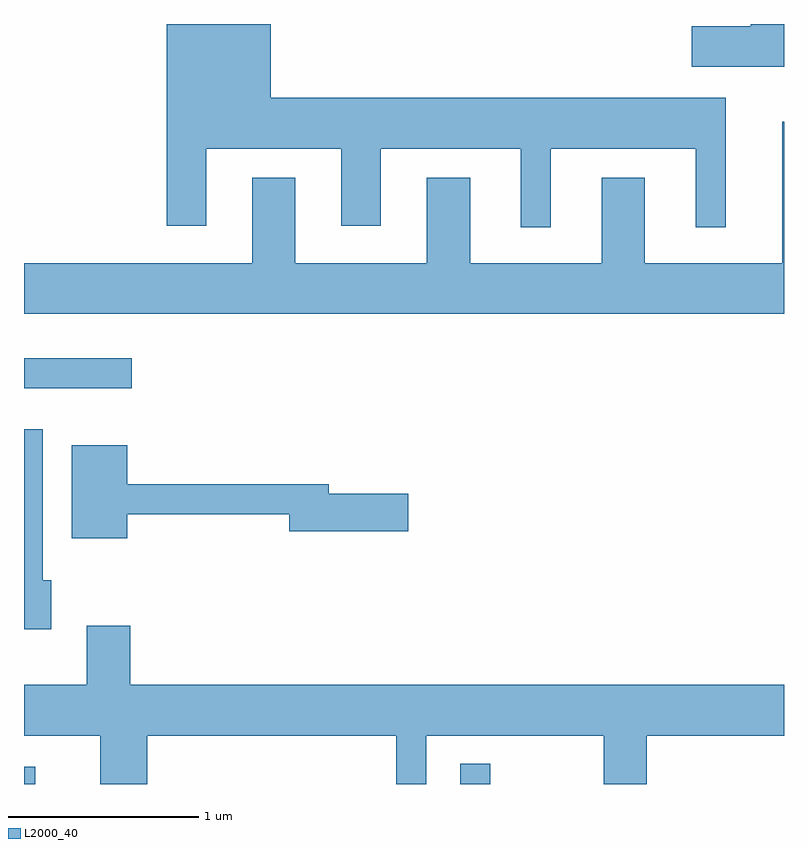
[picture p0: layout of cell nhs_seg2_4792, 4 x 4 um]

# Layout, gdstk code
import gdstk
lib = gdstk.Library(unit=1e-6, precision=1e-09)
def R(c, l, rs):  # rectangles x0, y0, x1, y1
    for r in rs: c.add(gdstk.rectangle(r[:2], r[2:], *l))
def P(c, l, *ps):  # polygons
    for p in ps: c.add(gdstk.Polygon(p, *l))
L2000_40 = (2000, 40)

nhs_seg2_4792 = lib.new_cell('nhs_seg2_4792')
R(nhs_seg2_4792, L2000_40, [(325.611,1085.802,325.669,1085.894), (327.906,1085.802,328.064,1085.908), (325.611,1087.886,326.178,1088.044)])
P(nhs_seg2_4792, L2000_40, [(329.611,1089.802),(329.436,1089.802),(329.436,1089.789),(329.126,1089.789),(329.126,1089.576),(329.611,1089.576)],
  [(328.384,1089.146),(329.146,1089.146),(329.146,1088.733),(329.304,1088.733),(329.304,1089.414),(326.909,1089.414),(326.909,1089.802),(326.361,1089.802),(326.361,1088.741),(326.569,1088.741),(326.569,1089.146),(327.281,1089.146),(327.281,1088.741),(327.489,1088.741),(327.489,1089.146),(328.226,1089.146),(328.226,1088.733),(328.384,1088.733)],
  [(329.611,1089.288),(329.601,1089.288),(329.601,1088.544),(328.879,1088.544),(328.879,1088.994),(328.651,1088.994),(328.651,1088.544),(327.959,1088.544),(327.959,1088.994),(327.731,1088.994),(327.731,1088.544),(327.039,1088.544),(327.039,1088.994),(326.811,1088.994),(326.811,1088.544),(325.611,1088.544),(325.611,1088.276),(329.611,1088.276)],
  [(325.754,1086.874),(325.709,1086.874),(325.709,1087.669),(325.611,1087.669),(325.611,1086.616),(325.754,1086.616)],
  [(326.154,1087.221),(327.006,1087.221),(327.006,1087.131),(327.634,1087.131),(327.634,1087.329),(327.214,1087.329),(327.214,1087.379),(326.154,1087.379),(326.154,1087.584),(325.861,1087.584),(325.861,1087.096),(326.154,1087.096)],
  [(326.259,1086.056),(327.571,1086.056),(327.571,1085.802),(327.729,1085.802),(327.729,1086.056),(328.661,1086.056),(328.661,1085.802),(328.889,1085.802),(328.889,1086.056),(329.611,1086.056),(329.611,1086.324),(326.169,1086.324),(326.169,1086.634),(325.941,1086.634),(325.941,1086.324),(325.611,1086.324),(325.611,1086.056),(326.011,1086.056),(326.011,1085.802),(326.259,1085.802)])

lib.write_gds('nhs_seg2_4792.gds')
